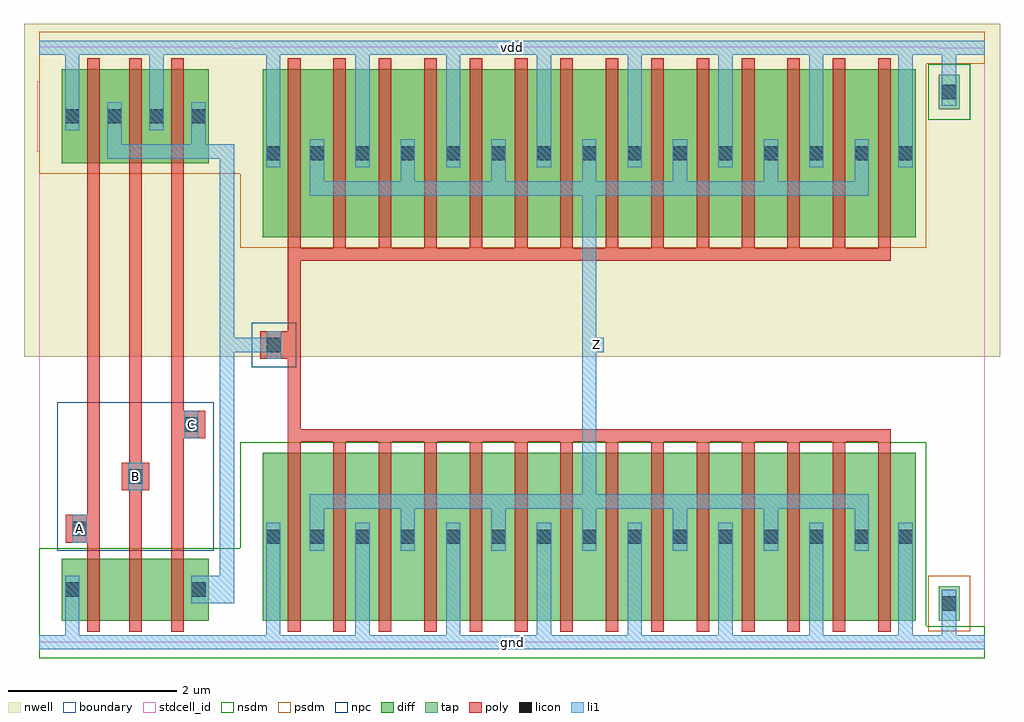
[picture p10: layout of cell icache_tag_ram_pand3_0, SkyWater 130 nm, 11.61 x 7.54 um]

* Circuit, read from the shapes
.subckt icache_tag_ram_pand3_0 A B C Z gnd vdd
XM1 icache_tag_ram_pnand3_0/icache_tag_ram_nmos_m1_w0_740_sli_dactive_3/D A gnd gnd sky130_fd_pr__nfet_01v8 w=0.74 l=0.15
XM2 icache_tag_ram_pnand3_0/icache_tag_ram_nmos_m1_w0_740_sactive_dactive_4/D B icache_tag_ram_pnand3_0/icache_tag_ram_nmos_m1_w0_740_sli_dactive_3/D gnd sky130_fd_pr__nfet_01v8 w=0.74 l=0.15
XM3 icache_tag_ram_pdriver_3_1/A C icache_tag_ram_pnand3_0/icache_tag_ram_nmos_m1_w0_740_sactive_dactive_4/D gnd sky130_fd_pr__nfet_01v8 w=0.74 l=0.15
XM4 Z icache_tag_ram_pdriver_3_1/A gnd gnd sky130_fd_pr__nfet_01v8 w=2 l=0.15 m=14
XM5 icache_tag_ram_pdriver_3_1/A A vdd vdd sky130_fd_pr__pfet_01v8 w=1.12 l=0.15
XM6 vdd B icache_tag_ram_pdriver_3_1/A vdd sky130_fd_pr__pfet_01v8 w=1.12 l=0.15
XM7 icache_tag_ram_pdriver_3_1/A C vdd vdd sky130_fd_pr__pfet_01v8 w=1.12 l=0.15
XM8 Z icache_tag_ram_pdriver_3_1/A vdd vdd sky130_fd_pr__pfet_01v8 w=2 l=0.15 m=14
.ends

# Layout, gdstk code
import gdstk
lib = gdstk.Library(unit=1e-6, precision=1e-09)
def R(c, l, rs):  # rectangles x0, y0, x1, y1
    for r in rs: c.add(gdstk.rectangle(r[:2], r[2:], *l))
def A(c, l, x, y, w, h, nx, ny, dx, dy):  # array of equal rectangles
    R(c, l, [(x+i*dx, y+j*dy, x+i*dx+w, y+j*dy+h) for i in range(nx) for j in range(ny)])
nwell = (64, 20)
diff = (65, 20)
tap = (65, 44)
poly = (66, 20)
licon = (66, 44)
li1 = (67, 20)
stdcell_id = (81, 4)
nsdm = (93, 44)
psdm = (94, 20)
npc = (95, 20)
boundary = (235, 4)

icache_tag_ram_contact_1 = lib.new_cell('icache_tag_ram_contact_11')
R(icache_tag_ram_contact_1, nwell, [(-0.295,-0.255,0.545,0.585)])
R(icache_tag_ram_contact_1, diff, [(0,0.02,0.25,0.31)])
R(icache_tag_ram_contact_1, licon, [(0.04,0.08,0.21,0.25)])
R(icache_tag_ram_contact_1, li1, [(0.04,0,0.21,0.33)])
R(icache_tag_ram_contact_1, stdcell_id, [(-0.295,-0.255,0.545,0.585)])
R(icache_tag_ram_contact_1, psdm, [(-0.125,-0.105,0.375,0.435)])
R(icache_tag_ram_contact_1, boundary, [(-0.295,-0.255,0.545,0.585)])

icache_tag_ram_pmos_m1_w = lib.new_cell('icache_tag_ram_pmos_m1_w1_120_sli_dli')
R(icache_tag_ram_pmos_m1_w, nwell, [(-0.27,-0.27,1.02,1.39)])
R(icache_tag_ram_pmos_m1_w, diff, [(0,0,0.75,1.12)])
R(icache_tag_ram_pmos_m1_w, poly, [(0.3,-0.13,0.45,1.25), (0.3,-0.13,0.45,1.25)])
R(icache_tag_ram_pmos_m1_w, li1, [(0.04,0.395,0.21,0.725), (0.54,0.395,0.71,0.725)])
R(icache_tag_ram_pmos_m1_w, stdcell_id, [(-0.27,-0.27,1.02,1.39)])
R(icache_tag_ram_pmos_m1_w, psdm, [(-0.125,-0.125,0.875,1.245)])
R(icache_tag_ram_pmos_m1_w, boundary, [(-0.27,-0.27,1.02,1.39)])
icache_tag_ram_pmos_m1_w.add(gdstk.Reference(icache_tag_ram_contact_1, (0,0.395)))
icache_tag_ram_pmos_m1_w.add(gdstk.Reference(icache_tag_ram_contact_1, (0.5,0.395)))
icache_tag_ram_pmos_m1_w.add(gdstk.Label('G', (0.375,0.56), layer=66, texttype=5))
icache_tag_ram_pmos_m1_w.add(gdstk.Label('S', (0.125,0.56), layer=67, texttype=5))
icache_tag_ram_pmos_m1_w.add(gdstk.Label('D', (0.625,0.56), layer=67, texttype=5))

c_icache_tag_ram_contact_1 = lib.new_cell('icache_tag_ram_contact_10')
R(c_icache_tag_ram_contact_1, diff, [(0,0.02,0.25,0.31)])
R(c_icache_tag_ram_contact_1, licon, [(0.04,0.08,0.21,0.25)])
R(c_icache_tag_ram_contact_1, li1, [(0.04,0,0.21,0.33)])
R(c_icache_tag_ram_contact_1, stdcell_id, [(-0.125,-0.105,0.375,0.435)])
R(c_icache_tag_ram_contact_1, nsdm, [(-0.125,-0.105,0.375,0.435)])
R(c_icache_tag_ram_contact_1, boundary, [(-0.125,-0.105,0.375,0.435)])

icache_tag_ram_nmos_m1_w = lib.new_cell('icache_tag_ram_nmos_m1_w0_740_sli_dactive')
R(icache_tag_ram_nmos_m1_w, diff, [(0,0,0.75,0.74), (0.55,0.295,0.7,0.445)])
R(icache_tag_ram_nmos_m1_w, poly, [(0.3,-0.13,0.45,0.87), (0.3,-0.13,0.45,0.87)])
R(icache_tag_ram_nmos_m1_w, li1, [(0.04,0.205,0.21,0.535)])
R(icache_tag_ram_nmos_m1_w, stdcell_id, [(-0.125,-0.13,0.875,0.87)])
R(icache_tag_ram_nmos_m1_w, nsdm, [(-0.125,-0.125,0.875,0.865)])
R(icache_tag_ram_nmos_m1_w, boundary, [(-0.125,-0.13,0.875,0.87)])
icache_tag_ram_nmos_m1_w.add(gdstk.Reference(c_icache_tag_ram_contact_1, (0,0.205)))
icache_tag_ram_nmos_m1_w.add(gdstk.Label('G', (0.375,0.37), layer=66, texttype=5))
icache_tag_ram_nmos_m1_w.add(gdstk.Label('S', (0.125,0.37), layer=67, texttype=5))
icache_tag_ram_nmos_m1_w.add(gdstk.Label('D', (0.625,0.37), layer=65, texttype=5))

c_icache_tag_ram_nmos_m1_w = lib.new_cell('icache_tag_ram_nmos_m1_w0_740_sactive_dactive')
R(c_icache_tag_ram_nmos_m1_w, diff, [(0,0,0.75,0.74), (0.05,0.295,0.2,0.445), (0.55,0.295,0.7,0.445)])
R(c_icache_tag_ram_nmos_m1_w, poly, [(0.3,-0.13,0.45,0.87), (0.3,-0.13,0.45,0.87)])
R(c_icache_tag_ram_nmos_m1_w, stdcell_id, [(-0.125,-0.13,0.875,0.87)])
R(c_icache_tag_ram_nmos_m1_w, nsdm, [(-0.125,-0.125,0.875,0.865)])
R(c_icache_tag_ram_nmos_m1_w, boundary, [(-0.125,-0.13,0.875,0.87)])
c_icache_tag_ram_nmos_m1_w.add(gdstk.Label('G', (0.375,0.37), layer=66, texttype=5))
c_icache_tag_ram_nmos_m1_w.add(gdstk.Label('S', (0.125,0.37), layer=65, texttype=5))
c_icache_tag_ram_nmos_m1_w.add(gdstk.Label('D', (0.625,0.37), layer=65, texttype=5))

c_icache_tag_ram_nmos_m1_w_ = lib.new_cell('icache_tag_ram_nmos_m1_w0_740_sactive_dli')
R(c_icache_tag_ram_nmos_m1_w_, diff, [(0,0,0.75,0.74), (0.05,0.295,0.2,0.445)])
R(c_icache_tag_ram_nmos_m1_w_, poly, [(0.3,-0.13,0.45,0.87), (0.3,-0.13,0.45,0.87)])
R(c_icache_tag_ram_nmos_m1_w_, li1, [(0.54,0.205,0.71,0.535)])
R(c_icache_tag_ram_nmos_m1_w_, stdcell_id, [(-0.125,-0.13,0.875,0.87)])
R(c_icache_tag_ram_nmos_m1_w_, nsdm, [(-0.125,-0.125,0.875,0.865)])
R(c_icache_tag_ram_nmos_m1_w_, boundary, [(-0.125,-0.13,0.875,0.87)])
c_icache_tag_ram_nmos_m1_w_.add(gdstk.Reference(c_icache_tag_ram_contact_1, (0.5,0.205)))
c_icache_tag_ram_nmos_m1_w_.add(gdstk.Label('G', (0.375,0.37), layer=66, texttype=5))
c_icache_tag_ram_nmos_m1_w_.add(gdstk.Label('S', (0.125,0.37), layer=65, texttype=5))
c_icache_tag_ram_nmos_m1_w_.add(gdstk.Label('D', (0.625,0.37), layer=67, texttype=5))

c_icache_tag_ram_contact_1_ = lib.new_cell('icache_tag_ram_contact_15')
R(c_icache_tag_ram_contact_1_, poly, [(0,0,0.33,0.33)])
R(c_icache_tag_ram_contact_1_, licon, [(0.08,0.08,0.25,0.25)])
R(c_icache_tag_ram_contact_1_, li1, [(0.08,0,0.25,0.33)])
R(c_icache_tag_ram_contact_1_, stdcell_id, [(-0.1,-0.1,0.43,0.43)])
R(c_icache_tag_ram_contact_1_, npc, [(-0.1,-0.1,0.43,0.43)])
R(c_icache_tag_ram_contact_1_, boundary, [(-0.1,-0.1,0.43,0.43)])

icache_tag_ram_pnand3 = lib.new_cell('icache_tag_ram_pnand3')
R(icache_tag_ram_pnand3, nwell, [(-0.18,3.395,2.57,7.355)])
A(icache_tag_ram_pnand3, poly, 0.57, 1.125, 0.15, 4.44, 3, 1, 0.5, 0)
R(icache_tag_ram_pnand3, poly, [(0.48,1.185,0.57,1.515), (1.07,1.805,1.145,2.135), (1.57,2.425,1.81,2.755)])
R(icache_tag_ram_pnand3, li1, [(0,-0.085,2.39,0.085), (0.31,-0.085,0.48,0.46), (1.895,0.46,2.235,0.79), (2.15,0.46,2.32,5.835), (0.395,1.185,0.565,1.515), (1.06,1.805,1.23,2.135), (1.725,2.425,1.895,2.755), (0.81,5.75,0.98,5.92), (0.895,5.75,2.235,5.92), (1.81,5.75,1.98,5.92), (1.895,5.75,2.235,5.92), (2.15,5.75,2.32,5.92), (0.81,5.835,0.98,6.255), (1.81,5.835,1.98,6.255), (0.31,6.09,0.48,7.155), (1.31,6.09,1.48,7.155), (0,6.985,2.39,7.155)])
R(icache_tag_ram_pnand3, stdcell_id, [(0,0,2.39,7.07), (0,0,2.39,7.07)])
R(icache_tag_ram_pnand3, nsdm, [(0,-0.19,2.39,0.19), (0,0,2.39,1.12)])
R(icache_tag_ram_pnand3, psdm, [(0,5.57,2.39,7.07), (0,6.88,2.39,7.26)])
R(icache_tag_ram_pnand3, npc, [(0.215,1.085,2.075,2.855)])
R(icache_tag_ram_pnand3, boundary, [(0,0,2.39,7.07), (0,0,2.39,7.07)])
icache_tag_ram_pnand3.add(gdstk.Reference(icache_tag_ram_pmos_m1_w, (0.27,5.695)))
icache_tag_ram_pnand3.add(gdstk.Reference(icache_tag_ram_pmos_m1_w, (0.77,5.695)))
icache_tag_ram_pnand3.add(gdstk.Reference(icache_tag_ram_pmos_m1_w, (1.27,5.695)))
icache_tag_ram_pnand3.add(gdstk.Reference(icache_tag_ram_nmos_m1_w, (0.27,0.255)))
icache_tag_ram_pnand3.add(gdstk.Reference(c_icache_tag_ram_nmos_m1_w, (0.77,0.255)))
icache_tag_ram_pnand3.add(gdstk.Reference(c_icache_tag_ram_nmos_m1_w_, (1.27,0.255)))
icache_tag_ram_pnand3.add(gdstk.Reference(c_icache_tag_ram_contact_1_, (0.315,1.185)))
icache_tag_ram_pnand3.add(gdstk.Reference(c_icache_tag_ram_contact_1_, (0.98,1.805)))
icache_tag_ram_pnand3.add(gdstk.Reference(c_icache_tag_ram_contact_1_, (1.645,2.425)))
icache_tag_ram_pnand3.add(gdstk.Label('A', (0.48,1.35), layer=67, texttype=5))
icache_tag_ram_pnand3.add(gdstk.Label('B', (1.145,1.97), layer=67, texttype=5))
icache_tag_ram_pnand3.add(gdstk.Label('C', (1.81,2.59), layer=67, texttype=5))
icache_tag_ram_pnand3.add(gdstk.Label('Z', (2.235,5.835), layer=67, texttype=5))
icache_tag_ram_pnand3.add(gdstk.Label('gnd', (1.195,0), layer=67, texttype=5))
icache_tag_ram_pnand3.add(gdstk.Label('vdd', (1.195,7.07), layer=67, texttype=5))

icache_tag_ram_pmos_m14_ = lib.new_cell('icache_tag_ram_pmos_m14_w2_000_sli_dli_da_p')
R(icache_tag_ram_pmos_m14_, nwell, [(-0.27,-0.27,8.04,2.27)])
R(icache_tag_ram_pmos_m14_, diff, [(0,0,7.77,2)])
A(icache_tag_ram_pmos_m14_, poly, 0.3, -0.13, 0.15, 2.26, 14, 1, 0.54, 0)
R(icache_tag_ram_pmos_m14_, poly, [(0.3,-0.28,7.47,-0.13)])
A(icache_tag_ram_pmos_m14_, li1, 0.56, 0.58, 0.17, 0.42, 7, 1, 1.08, 0)
A(icache_tag_ram_pmos_m14_, li1, 1.1, 0.835, 0.17, 0.33, 6, 1, 1.08, 0)
R(icache_tag_ram_pmos_m14_, li1, [(0.56,0.495,7.21,0.665), (0.04,0.835,0.21,1.165), (7.56,0.835,7.73,1.165)])
R(icache_tag_ram_pmos_m14_, stdcell_id, [(-0.27,-0.28,8.04,2.27)])
R(icache_tag_ram_pmos_m14_, psdm, [(-0.125,-0.125,7.895,2.125)])
R(icache_tag_ram_pmos_m14_, boundary, [(-0.27,-0.28,8.04,2.27)])
icache_tag_ram_pmos_m14_.add(gdstk.Reference(icache_tag_ram_contact_1, (0,0.835)))
icache_tag_ram_pmos_m14_.add(gdstk.Reference(icache_tag_ram_contact_1, (0.52,0.835)))
icache_tag_ram_pmos_m14_.add(gdstk.Reference(icache_tag_ram_contact_1, (1.06,0.835)))
icache_tag_ram_pmos_m14_.add(gdstk.Reference(icache_tag_ram_contact_1, (1.6,0.835)))
icache_tag_ram_pmos_m14_.add(gdstk.Reference(icache_tag_ram_contact_1, (2.14,0.835)))
icache_tag_ram_pmos_m14_.add(gdstk.Reference(icache_tag_ram_contact_1, (2.68,0.835)))
icache_tag_ram_pmos_m14_.add(gdstk.Reference(icache_tag_ram_contact_1, (3.22,0.835)))
icache_tag_ram_pmos_m14_.add(gdstk.Reference(icache_tag_ram_contact_1, (3.76,0.835)))
icache_tag_ram_pmos_m14_.add(gdstk.Reference(icache_tag_ram_contact_1, (4.3,0.835)))
icache_tag_ram_pmos_m14_.add(gdstk.Reference(icache_tag_ram_contact_1, (4.84,0.835)))
icache_tag_ram_pmos_m14_.add(gdstk.Reference(icache_tag_ram_contact_1, (5.38,0.835)))
icache_tag_ram_pmos_m14_.add(gdstk.Reference(icache_tag_ram_contact_1, (5.92,0.835)))
icache_tag_ram_pmos_m14_.add(gdstk.Reference(icache_tag_ram_contact_1, (6.46,0.835)))
icache_tag_ram_pmos_m14_.add(gdstk.Reference(icache_tag_ram_contact_1, (7,0.835)))
icache_tag_ram_pmos_m14_.add(gdstk.Reference(icache_tag_ram_contact_1, (7.52,0.835)))
icache_tag_ram_pmos_m14_.add(gdstk.Label('G', (3.885,-0.205), layer=66, texttype=5))
icache_tag_ram_pmos_m14_.add(gdstk.Label('S', (4.425,1), layer=67, texttype=5))
icache_tag_ram_pmos_m14_.add(gdstk.Label('S', (2.265,1), layer=67, texttype=5))
icache_tag_ram_pmos_m14_.add(gdstk.Label('S', (7.645,1), layer=67, texttype=5))
icache_tag_ram_pmos_m14_.add(gdstk.Label('S', (5.505,1), layer=67, texttype=5))
icache_tag_ram_pmos_m14_.add(gdstk.Label('S', (0.125,1), layer=67, texttype=5))
icache_tag_ram_pmos_m14_.add(gdstk.Label('S', (3.345,1), layer=67, texttype=5))
icache_tag_ram_pmos_m14_.add(gdstk.Label('S', (1.185,1), layer=67, texttype=5))
icache_tag_ram_pmos_m14_.add(gdstk.Label('S', (6.585,1), layer=67, texttype=5))
icache_tag_ram_pmos_m14_.add(gdstk.Label('D', (3.885,0.58), layer=67, texttype=5))

icache_tag_ram_nmos_m14_ = lib.new_cell('icache_tag_ram_nmos_m14_w2_000_sli_dli_da_p')
R(icache_tag_ram_nmos_m14_, diff, [(0,0,7.77,2)])
A(icache_tag_ram_nmos_m14_, poly, 0.3, -0.13, 0.15, 2.26, 14, 1, 0.54, 0)
R(icache_tag_ram_nmos_m14_, poly, [(0.3,2.13,7.47,2.28)])
A(icache_tag_ram_nmos_m14_, li1, 1.1, 0.835, 0.17, 0.33, 6, 1, 1.08, 0)
A(icache_tag_ram_nmos_m14_, li1, 0.56, 1, 0.17, 0.42, 7, 1, 1.08, 0)
R(icache_tag_ram_nmos_m14_, li1, [(0.04,0.835,0.21,1.165), (7.56,0.835,7.73,1.165), (0.56,1.335,7.21,1.505)])
R(icache_tag_ram_nmos_m14_, stdcell_id, [(-0.125,-0.13,7.895,2.28)])
R(icache_tag_ram_nmos_m14_, nsdm, [(-0.125,-0.125,7.895,2.125)])
R(icache_tag_ram_nmos_m14_, boundary, [(-0.125,-0.13,7.895,2.28)])
icache_tag_ram_nmos_m14_.add(gdstk.Reference(c_icache_tag_ram_contact_1, (0,0.835)))
icache_tag_ram_nmos_m14_.add(gdstk.Reference(c_icache_tag_ram_contact_1, (0.52,0.835)))
icache_tag_ram_nmos_m14_.add(gdstk.Reference(c_icache_tag_ram_contact_1, (1.06,0.835)))
icache_tag_ram_nmos_m14_.add(gdstk.Reference(c_icache_tag_ram_contact_1, (1.6,0.835)))
icache_tag_ram_nmos_m14_.add(gdstk.Reference(c_icache_tag_ram_contact_1, (2.14,0.835)))
icache_tag_ram_nmos_m14_.add(gdstk.Reference(c_icache_tag_ram_contact_1, (2.68,0.835)))
icache_tag_ram_nmos_m14_.add(gdstk.Reference(c_icache_tag_ram_contact_1, (3.22,0.835)))
icache_tag_ram_nmos_m14_.add(gdstk.Reference(c_icache_tag_ram_contact_1, (3.76,0.835)))
icache_tag_ram_nmos_m14_.add(gdstk.Reference(c_icache_tag_ram_contact_1, (4.3,0.835)))
icache_tag_ram_nmos_m14_.add(gdstk.Reference(c_icache_tag_ram_contact_1, (4.84,0.835)))
icache_tag_ram_nmos_m14_.add(gdstk.Reference(c_icache_tag_ram_contact_1, (5.38,0.835)))
icache_tag_ram_nmos_m14_.add(gdstk.Reference(c_icache_tag_ram_contact_1, (5.92,0.835)))
icache_tag_ram_nmos_m14_.add(gdstk.Reference(c_icache_tag_ram_contact_1, (6.46,0.835)))
icache_tag_ram_nmos_m14_.add(gdstk.Reference(c_icache_tag_ram_contact_1, (7,0.835)))
icache_tag_ram_nmos_m14_.add(gdstk.Reference(c_icache_tag_ram_contact_1, (7.52,0.835)))
icache_tag_ram_nmos_m14_.add(gdstk.Label('G', (3.885,2.205), layer=66, texttype=5))
icache_tag_ram_nmos_m14_.add(gdstk.Label('S', (4.425,1), layer=67, texttype=5))
icache_tag_ram_nmos_m14_.add(gdstk.Label('S', (2.265,1), layer=67, texttype=5))
icache_tag_ram_nmos_m14_.add(gdstk.Label('S', (7.645,1), layer=67, texttype=5))
icache_tag_ram_nmos_m14_.add(gdstk.Label('S', (5.505,1), layer=67, texttype=5))
icache_tag_ram_nmos_m14_.add(gdstk.Label('S', (0.125,1), layer=67, texttype=5))
icache_tag_ram_nmos_m14_.add(gdstk.Label('S', (3.345,1), layer=67, texttype=5))
icache_tag_ram_nmos_m14_.add(gdstk.Label('S', (1.185,1), layer=67, texttype=5))
icache_tag_ram_nmos_m14_.add(gdstk.Label('S', (6.585,1), layer=67, texttype=5))
icache_tag_ram_nmos_m14_.add(gdstk.Label('D', (3.885,1.42), layer=67, texttype=5))

icache_tag_ram_contact_2 = lib.new_cell('icache_tag_ram_contact_24')
R(icache_tag_ram_contact_2, nwell, [(-0.295,-0.215,0.545,0.625)])
R(icache_tag_ram_contact_2, tap, [(0,0,0.25,0.41)])
R(icache_tag_ram_contact_2, licon, [(0.04,0.12,0.21,0.29)])
R(icache_tag_ram_contact_2, li1, [(0.04,0.04,0.21,0.37)])
R(icache_tag_ram_contact_2, stdcell_id, [(-0.295,-0.215,0.545,0.625)])
R(icache_tag_ram_contact_2, nsdm, [(-0.125,-0.125,0.375,0.535)])
R(icache_tag_ram_contact_2, boundary, [(-0.295,-0.215,0.545,0.625)])

c_icache_tag_ram_contact_2 = lib.new_cell('icache_tag_ram_contact_25')
R(c_icache_tag_ram_contact_2, tap, [(0,0,0.25,0.41)])
R(c_icache_tag_ram_contact_2, licon, [(0.04,0.12,0.21,0.29)])
R(c_icache_tag_ram_contact_2, li1, [(0.04,0.04,0.21,0.37)])
R(c_icache_tag_ram_contact_2, stdcell_id, [(-0.125,-0.125,0.375,0.535)])
R(c_icache_tag_ram_contact_2, psdm, [(-0.125,-0.125,0.375,0.535)])
R(c_icache_tag_ram_contact_2, boundary, [(-0.125,-0.125,0.375,0.535)])

icache_tag_ram_pinv_12 = lib.new_cell('icache_tag_ram_pinv_12')
R(icache_tag_ram_pinv_12, nwell, [(-0.18,3.395,9.04,7.355)])
R(icache_tag_ram_pinv_12, poly, [(0.57,2.535,0.72,4.535), (0.405,3.37,0.57,3.7)])
A(icache_tag_ram_pinv_12, li1, 1.37, -0.085, 0.17, 1.175, 6, 1, 1.08, 0)
A(icache_tag_ram_pinv_12, li1, 1.37, 5.65, 0.17, 1.505, 6, 1, 1.08, 0)
R(icache_tag_ram_pinv_12, li1, [(0,-0.085,8.86,0.085), (0.31,-0.085,0.48,1.09), (7.83,-0.085,8,1.09), (8.35,0,8.52,0.46), (4.07,1.59,4.24,5.48), (0.32,3.37,0.49,3.7), (4.155,3.45,4.325,3.62), (0.31,5.65,0.48,7.155), (7.83,5.65,8,7.155), (8.35,6.545,8.52,7.07), (0,6.985,8.86,7.155)])
R(icache_tag_ram_pinv_12, stdcell_id, [(0,0,8.86,7.07), (0,0,8.86,7.07)])
R(icache_tag_ram_pinv_12, nsdm, [(0,-0.19,8.86,0.19), (0,0,8.165,2.38)])
R(icache_tag_ram_pinv_12, psdm, [(0,4.69,8.165,7.07), (0,6.88,8.86,7.26)])
R(icache_tag_ram_pinv_12, boundary, [(0,0,8.86,7.07), (0,0,8.86,7.07)])
icache_tag_ram_pinv_12.add(gdstk.Reference(icache_tag_ram_pmos_m14_, (0.27,4.815)))
icache_tag_ram_pinv_12.add(gdstk.Reference(icache_tag_ram_nmos_m14_, (0.27,0.255)))
icache_tag_ram_pinv_12.add(gdstk.Reference(icache_tag_ram_contact_2, (8.31,6.34)))
icache_tag_ram_pinv_12.add(gdstk.Reference(c_icache_tag_ram_contact_2, (8.31,0.255)))
icache_tag_ram_pinv_12.add(gdstk.Reference(c_icache_tag_ram_contact_1_, (0.24,3.37)))
icache_tag_ram_pinv_12.add(gdstk.Label('A', (0.405,3.535), layer=67, texttype=5))
icache_tag_ram_pinv_12.add(gdstk.Label('Z', (4.24,3.535), layer=67, texttype=5))
icache_tag_ram_pinv_12.add(gdstk.Label('gnd', (4.43,0), layer=67, texttype=5))
icache_tag_ram_pinv_12.add(gdstk.Label('vdd', (4.43,7.07), layer=67, texttype=5))

icache_tag_ram_pdriver_3 = lib.new_cell('icache_tag_ram_pdriver_3')
R(icache_tag_ram_pdriver_3, nwell, [(-0.18,3.395,9.04,7.355)])
R(icache_tag_ram_pdriver_3, li1, [(0,-0.085,8.86,0.085), (0.32,3.37,0.49,3.7), (4.155,3.45,4.325,3.62), (0,6.985,8.86,7.155)])
R(icache_tag_ram_pdriver_3, stdcell_id, [(0,0,8.86,7.07), (0,0,8.86,7.07)])
R(icache_tag_ram_pdriver_3, nsdm, [(0,-0.19,8.86,0.19)])
R(icache_tag_ram_pdriver_3, psdm, [(0,6.88,8.86,7.26)])
R(icache_tag_ram_pdriver_3, boundary, [(0,0,8.86,7.07), (0,0,8.86,7.07)])
icache_tag_ram_pdriver_3.add(gdstk.Reference(icache_tag_ram_pinv_12, (0,0)))
icache_tag_ram_pdriver_3.add(gdstk.Label('Z', (4.24,3.535), layer=67, texttype=5))
icache_tag_ram_pdriver_3.add(gdstk.Label('A', (0.405,3.535), layer=67, texttype=5))
icache_tag_ram_pdriver_3.add(gdstk.Label('gnd', (4.43,0), layer=67, texttype=5))
icache_tag_ram_pdriver_3.add(gdstk.Label('vdd', (4.43,7.07), layer=67, texttype=5))

icache_tag_ram_pand3_0 = lib.new_cell('icache_tag_ram_pand3_0')
R(icache_tag_ram_pand3_0, li1, [(0,-0.085,11.25,0.085), (0.395,1.185,0.565,1.515), (1.06,1.805,1.23,2.135), (1.725,2.425,1.895,2.755), (2.15,3.45,2.32,3.62), (2.235,3.45,2.795,3.62), (6.545,3.45,6.715,3.62), (2.15,3.535,2.32,5.835), (0,6.985,11.25,7.155)])
R(icache_tag_ram_pand3_0, stdcell_id, [(0,0,11.25,7.07), (0,0,11.25,7.07)])
R(icache_tag_ram_pand3_0, boundary, [(0,0,11.25,7.07), (0,0,11.25,7.07)])
icache_tag_ram_pand3_0.add(gdstk.Reference(icache_tag_ram_pnand3, (0,0)))
icache_tag_ram_pand3_0.add(gdstk.Reference(icache_tag_ram_pdriver_3, (2.39,0)))
icache_tag_ram_pand3_0.add(gdstk.Label('Z', (6.63,3.535), layer=67, texttype=5))
icache_tag_ram_pand3_0.add(gdstk.Label('A', (0.48,1.35), layer=67, texttype=5))
icache_tag_ram_pand3_0.add(gdstk.Label('B', (1.145,1.97), layer=67, texttype=5))
icache_tag_ram_pand3_0.add(gdstk.Label('C', (1.81,2.59), layer=67, texttype=5))
icache_tag_ram_pand3_0.add(gdstk.Label('gnd', (5.625,0), layer=67, texttype=5))
icache_tag_ram_pand3_0.add(gdstk.Label('vdd', (5.625,7.07), layer=67, texttype=5))

lib.write_gds('icache_tag_ram_pand3_0.gds')
